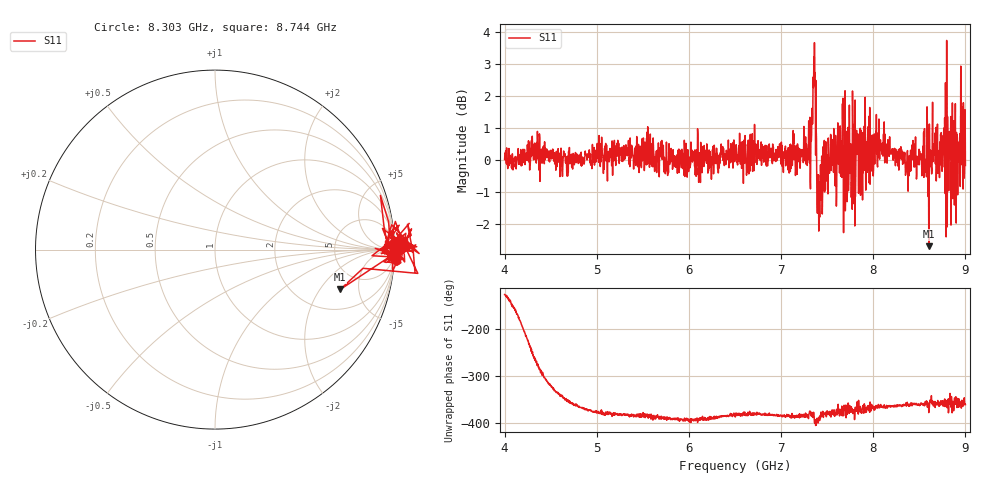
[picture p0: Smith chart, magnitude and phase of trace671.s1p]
! Created with skrf 1.8.0 (http://scikit-rf.org).
# Hz S RI R 50.0
!freq ReS11 ImS11
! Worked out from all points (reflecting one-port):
!   1601 points, 4 GHz to 9 GHz, reference 50 ohm
!   lowest |S11| = -2.7 dB at 8.603 GHz (marker M1), VSWR 6.47, Z = 165 - j158 ohm
!   phase of S11 starts at -127 deg and turns -234 deg over the sweep
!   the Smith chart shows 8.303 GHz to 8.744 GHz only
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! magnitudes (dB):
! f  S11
! 4 GHz  0.0
! 4.312 GHz  0.0
! 4.625 GHz  -0.4
! 5.25 GHz  0.2
! 5.572 GHz  -0.2
! 5.875 GHz  -0.4
! 6.5 GHz  0.2
! 7.125 GHz  0.2
! 7.297 GHz  0.5
! 7.356 GHz  3.2
! 7.412 GHz  -0.9
! 7.481 GHz  -0.9
! 7.553 GHz  0.0
! 7.584 GHz  -0.6
! 7.647 GHz  -0.5
! 7.703 GHz  0.9
! 7.75 GHz  -0.1
! 7.784 GHz  -0.6
! 7.834 GHz  0.8
! 8.103 GHz  0.1
! 8.375 GHz  -0.2
! 8.438 GHz  0.5
! 8.603 GHz  -2.7
! 8.775 GHz  1.3
! 8.828 GHz  0.4
! 8.919 GHz  -0.1
! 8.972 GHz  0.2
! 9 GHz  -0.2
